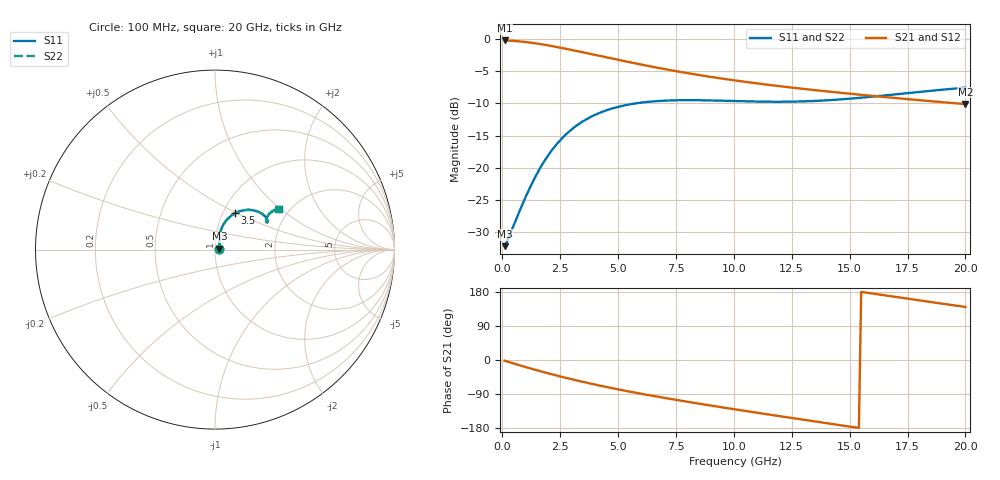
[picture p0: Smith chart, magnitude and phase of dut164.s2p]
! Touchstone file exported from HFSS 2024.1.0
!  File:  C:/UserFiles/LocalFiles/RDL_TSV_Batchsim/temp_RDL_TSV_164_1779434737.aedt
!  Generated:  03:40:23 PM May 22, 2026
!  Design:  RDL_TSV
!  Project:  temp_RDL_TSV_164_1779434737
!  Setup:  Setup1
!  Solution:  Sweep
! Variables:
!  dtsv = 9.8um
!  hbump = 3um
!  htsv = 68.54um
!  ldown = 432.16um
!  lrdl = 461.07um
!  p = 40
!  p1 = 51.22um
!  rhole = 10um
!  subl = 3140.76um
!  t = 450um
!  tdown = 3.86um
!  trdl = 3.08um
!  viad = 10um
!  wdown = 26.52um
!  wrdl = 10.88um
!  xbump = 18um
# GHz S MA R 50.000000
! Terminal data exported
! Port[1] = TM1_1_T1
! Port[2] = TM1_4_T1
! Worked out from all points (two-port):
!   200 points, 100 MHz to 20 GHz, reference 50 ohm
!   highest |S21| = -0.21 dB at 100 MHz (marker M1); lowest = -10.1 dB at 20 GHz (marker M2)
!   |S21| within 3 dB of the highest: start of sweep to 4.995 GHz
!   lowest |S11| = -32.2 dB at 100 MHz (marker M3), VSWR 1.05, Z = 52.5 + j0.589 ohm
!   |S11| at or under -10 dB: start of sweep to 5.729 GHz
!   |S22| runs from -32.2 to -7.6 dB; largest |S21 - S12| = 3.7e-14
!   S11 on the Smith chart (normalised r, x): 100 MHz: 1.05, +0.01; 3.5 GHz: 1.14, +0.49; 20 GHz: 1.76, +0.96
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0.1  0.02467 13.1  0.9757 -1.9  0.9757 -1.9  0.02467 13.1
! Gamma 0 0 0 0
! Port Impedance 50 0 50 0
0.5  0.03614 46.1  0.9677 -9.4  0.9677 -9.4  0.03614 46.1
0.9  0.05366 62.8  0.9536 -16.7  0.9536 -16.7  0.05367 62.8
1.4  0.08356 71.7  0.9288 -25.5  0.9288 -25.5  0.08356 71.6
1.8  0.1118 73.1  0.9048 -32.2  0.9048 -32.2  0.1118 73.1
2.2  0.1416 71.9  0.8787 -38.7  0.8787 -38.7  0.1416 71.9
2.6  0.1712 69.2  0.8512 -44.9  0.8512 -44.9  0.1711 69.2
3  0.1992 65.8  0.8232 -50.9  0.8232 -50.9  0.1991 65.8
3.5  0.2308 61.2  0.7883 -58.0  0.7883 -58.0  0.2307 61.1
4.2  0.2673 54.7  0.741 -67.4  0.741 -67.4  0.2671 54.6
4.9  0.2945 48.7  0.6965 -76.2  0.6965 -76.2  0.2943 48.7
5.8  0.3176 42.1  0.6447 -86.9  0.6447 -86.9  0.3174 42.1
6.8  0.331 36.4  0.5945 -97.9  0.5945 -97.9  0.3307 36.3
7.6  0.3351 32.9  0.5597 -106.2  0.5597 -106.2  0.3347 32.8
8.4  0.3353 30.3  0.5292 -114.3  0.5292 -114.3  0.3349 30.3
10.1  0.33 27.7  0.476 -130.7  0.476 -130.7  0.3294 27.6
11.7  0.3261 28.0  0.4368 -145.7  0.4368 -145.7  0.3255 28.0
13.4  0.3304 30.0  0.4032 -161.2  0.4032 -161.2  0.3297 30.1
15  0.3445 32.2  0.3767 -175.7  0.3767 -175.7  0.3438 32.2
16.7  0.3679 33.6  0.3522 169.0  0.3522 169.0  0.3673 33.6
18.4  0.3951 33.6  0.3308 153.9  0.3308 153.9  0.3945 33.6
20  0.4197 32.5  0.3129 139.9  0.3129 139.9  0.4191 32.6
